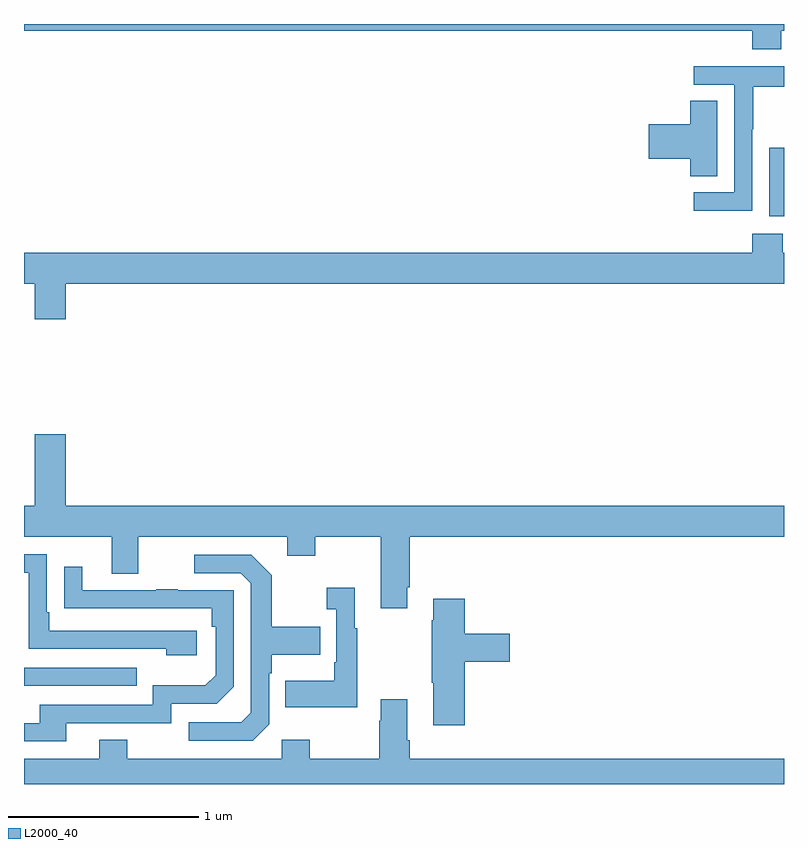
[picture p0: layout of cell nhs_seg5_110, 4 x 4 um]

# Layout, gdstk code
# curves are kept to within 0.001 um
import gdstk
lib = gdstk.Library(unit=1e-6, precision=1e-09)
def R(c, l, rs):  # rectangles x0, y0, x1, y1
    for r in rs: c.add(gdstk.rectangle(r[:2], r[2:], *l))
def P(c, l, *ps):  # polygons
    for p in ps: c.add(gdstk.Polygon(p, *l))
L2000_40 = (2000, 40)

nhs_seg5_110 = lib.new_cell('nhs_seg5_110')
R(nhs_seg5_110, L2000_40, [(117,849.315,117.593,849.411), (120.923,851.786,121,852.147)])
P(nhs_seg5_110, L2000_40, [(120.985,852.764),(121,852.764),(121,852.799),(117,852.799),(117,852.764),(120.833,852.764),(120.833,852.665),(120.985,852.665)],
  [(120.834,852.244),(120.837,852.244),(120.837,852.468),(121,852.468),(121,852.576),(120.525,852.576),(120.525,852.48),(120.738,852.48),(120.738,851.913),(120.525,851.913),(120.525,851.815),(120.834,851.815)],
  [(120.649,852.395),(120.506,852.395),(120.506,852.272),(120.288,852.272),(120.288,852.089),(120.506,852.089),(120.506,851.998),(120.649,851.998)],
  [(117.22,851.432),(121,851.432),(121,851.596),(120.993,851.596),(120.993,851.695),(120.833,851.695),(120.833,851.596),(117,851.596),(117,851.432),(117.056,851.432),(117.056,851.244),(117.22,851.244)],
  [(119.017,849.835),(119.03,849.835),(119.03,850.1),(121,850.1),(121,850.264),(117.22,850.264),(117.22,850.639),(117.056,850.639),(117.056,850.264),(117,850.264),(117,850.1),(117.461,850.1),(117.461,849.906),(117.601,849.906),(117.601,850.1),(118.385,850.1),(118.385,850.001),(118.533,850.001),(118.533,850.1),(118.877,850.1),(118.877,849.723),(119.017,849.723)],
  [(117.91,849.606),(117.133,849.606),(117.133,849.703),(117.12,849.703),(117.12,850.008),(117,850.008),(117,849.912),(117.024,849.912),(117.024,849.51),(117.749,849.51),(117.749,849.476),(117.91,849.476)],
  [(118.29,849.114),(118.29,849.383),(118.303,849.383),(118.303,849.479),(118.559,849.479),(118.559,849.627),(118.303,849.627),(118.303,849.899),(118.197,850.005),(117.897,850.005),(117.897,849.909),(118.14,849.909),(118.194,849.855),(118.194,849.174),(118.143,849.123),(117.867,849.123),(117.867,849.027),(118.203,849.027)],
  [(117.223,849.12),(117.774,849.12),(117.774,849.222),(118.014,849.222),(118.104,849.312),(118.104,849.819),(117.809,849.819),(117.809,849.824),(117.697,849.824),(117.697,849.819),(117.307,849.819),(117.307,849.943),(117.211,849.943),(117.211,849.724),(117.988,849.723),(117.988,849.626),(118.008,849.626),(118.008,849.372),(117.955,849.319),(117.678,849.319),(117.678,849.216),(117.083,849.216),(117.083,849.12),(117,849.12),(117,849.024),(117.223,849.024)],
  [(118.753,849.619),(118.741,849.619),(118.741,849.832),(118.593,849.832),(118.593,849.719),(118.644,849.719),(118.644,849.439),(118.632,849.439),(118.632,849.343),(118.375,849.343),(118.375,849.203),(118.753,849.203)],
  [(119.321,849.443),(119.557,849.443),(119.557,849.59),(119.321,849.59),(119.321,849.775),(119.153,849.775),(119.153,849.662),(119.146,849.662),(119.146,849.331),(119.153,849.331),(119.153,849.108),(119.321,849.108)],
  [(121,848.932),(119.03,848.932),(119.03,849.028),(119.017,849.028),(119.017,849.244),(118.877,849.244),(118.877,849.131),(118.87,849.131),(118.87,848.932),(118.503,848.932),(118.503,849.031),(118.356,849.031),(118.356,848.932),(117.543,848.932),(117.543,849.031),(117.395,849.031),(117.395,848.932),(117,848.932),(117,848.799),(121,848.799)])

lib.write_gds('nhs_seg5_110.gds')
